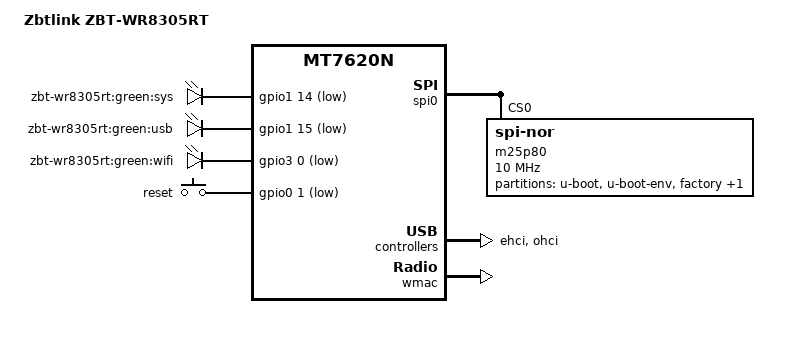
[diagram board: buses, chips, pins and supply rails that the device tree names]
/dts-v1/;

#include "mt7620n.dtsi"

#include <dt-bindings/gpio/gpio.h>
#include <dt-bindings/input/input.h>

/ {
	compatible = "zbtlink,zbt-wr8305rt", "ralink,mt7620n-soc";
	model = "Zbtlink ZBT-WR8305RT";

	aliases {
		led-status = &led_sys;
	};

	gpio-leds {
		compatible = "gpio-leds";

		led_sys: sys {
			label = "zbt-wr8305rt:green:sys";
			gpios = <&gpio1 14 GPIO_ACTIVE_LOW>;
		};

		lan {
			label = "zbt-wr8305rt:green:usb";
			gpios = <&gpio1 15 GPIO_ACTIVE_LOW>;
		};

		wifi {
			label = "zbt-wr8305rt:green:wifi";
			gpios = <&gpio3 0 GPIO_ACTIVE_LOW>;
		};
	};

	gpio-keys-polled {
		compatible = "gpio-keys-polled";
		poll-interval = <20>;

		reset {
			label = "reset";
			gpios = <&gpio0 1 GPIO_ACTIVE_LOW>;
			linux,code = <KEY_RESTART>;
		};
	};
};

&gpio1 {
	status = "okay";
};

&gpio3 {
	status = "okay";
};

&spi0 {
	status = "okay";

	m25p80@0 {
		compatible = "jedec,spi-nor";
		reg = <0>;
		spi-max-frequency = <10000000>;

		partitions {
			compatible = "fixed-partitions";
			#address-cells = <1>;
			#size-cells = <1>;

			partition@0 {
				label = "u-boot";
				reg = <0x0 0x30000>;
				read-only;
			};

			partition@30000 {
				label = "u-boot-env";
				reg = <0x30000 0x10000>;
				read-only;
			};

			factory: partition@40000 {
				label = "factory";
				reg = <0x40000 0x10000>;
				read-only;
			};

			partition@50000 {
				label = "firmware";
				reg = <0x50000 0x7b0000>;
			};
		};
	};
};

&ehci {
	status = "okay";
};

&ohci {
	status = "okay";
};

&ethernet {
	pinctrl-names = "default";
	pinctrl-0 = <&ephy_pins>;
	mtd-mac-address = <&factory 0x4>;
	mediatek,portmap = "llllw";
};

&wmac {
	ralink,mtd-eeprom = <&factory 0>;
};

&pinctrl {
	state_default: pinctrl0 {
		default {
			ralink,group = "i2c", "uartf", "spi refclk", "wled";
			ralink,function = "gpio";
		};
	};
};
